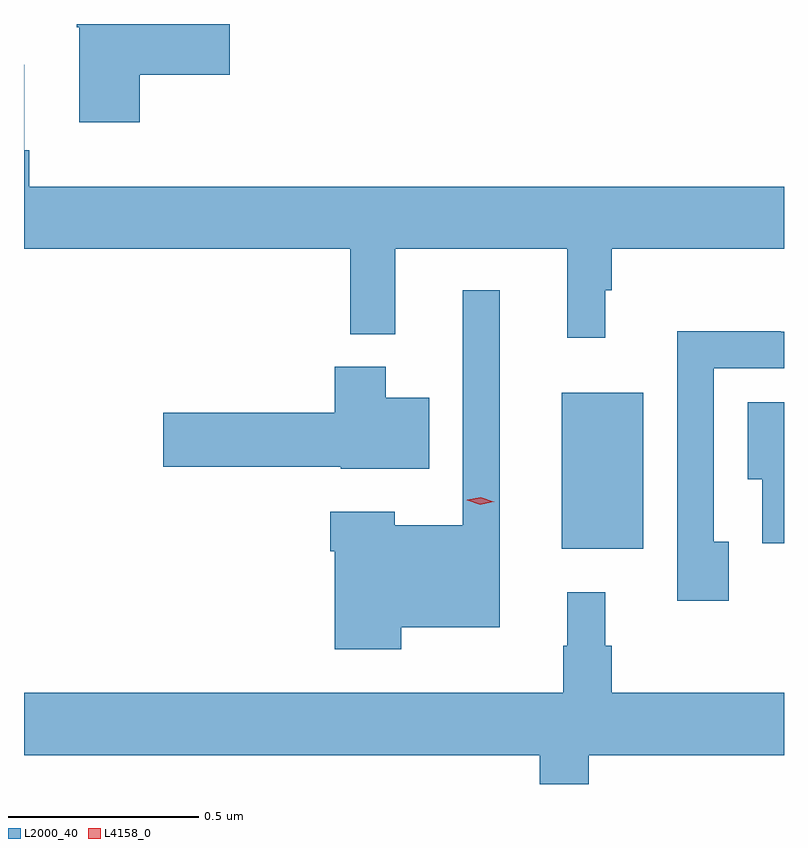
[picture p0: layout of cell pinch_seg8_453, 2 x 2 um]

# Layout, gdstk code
import gdstk
lib = gdstk.Library(unit=1e-6, precision=1e-09)
def R(c, l, rs):  # rectangles x0, y0, x1, y1
    for r in rs: c.add(gdstk.rectangle(r[:2], r[2:], *l))
def P(c, l, *ps):  # polygons
    for p in ps: c.add(gdstk.Polygon(p, *l))
L2000_40 = (2000, 40)
L4158_0 = (4158, 0)

pinch_seg8_453 = lib.new_cell('pinch_seg8_453')
R(pinch_seg8_453, L2000_40, [(319.565,1127.699,319.78,1128.109)])
P(pinch_seg8_453, L2000_40, [(318.455,1128.946),(318.691,1128.946),(318.691,1129.08),(318.289,1129.08),(318.289,1129.071),(318.296,1129.071),(318.296,1128.822),(318.455,1128.822)],
  [(318.151,1128.748),(318.151,1128.973),(318.15,1128.973),(318.15,1128.488),(319.009,1128.488),(319.009,1128.263),(319.127,1128.263),(319.127,1128.488),(319.58,1128.488),(319.58,1128.255),(319.679,1128.255),(319.679,1128.38),(319.697,1128.38),(319.697,1128.488),(320.15,1128.488),(320.15,1128.652),(318.164,1128.652),(318.164,1128.748)],
  [(319.143,1127.492),(319.402,1127.492),(319.402,1128.379),(319.305,1128.379),(319.305,1127.761),(319.126,1127.761),(319.126,1127.797),(318.956,1127.797),(318.956,1127.693),(318.968,1127.693),(318.968,1127.435),(319.143,1127.435)],
  [(320.005,1127.718),(319.965,1127.718),(319.965,1128.174),(320.15,1128.174),(320.15,1128.27),(320.141,1128.27),(320.141,1128.272),(319.869,1128.272),(319.869,1127.562),(320.005,1127.562)],
  [(319.216,1128.097),(319.102,1128.097),(319.102,1128.178),(318.968,1128.178),(318.968,1128.057),(318.516,1128.057),(318.516,1127.915),(318.984,1127.915),(318.984,1127.909),(319.216,1127.909)],
  [(320.15,1128.085),(320.054,1128.085),(320.054,1127.882),(320.093,1127.882),(320.093,1127.714),(320.15,1127.714)],
  [(319.636,1127.156),(320.15,1127.156),(320.15,1127.32),(319.697,1127.32),(319.697,1127.444),(319.679,1127.444),(319.679,1127.584),(319.58,1127.584),(319.58,1127.444),(319.569,1127.444),(319.569,1127.32),(318.15,1127.32),(318.15,1127.156),(319.507,1127.156),(319.507,1127.08),(319.636,1127.08)])
P(pinch_seg8_453, L4158_0, [(319.35,1127.815),(319.316,1127.827),(319.315,1127.827),(319.316,1127.828),(319.352,1127.835),(319.386,1127.823),(319.387,1127.823),(319.386,1127.823)])

lib.write_gds('pinch_seg8_453.gds')
